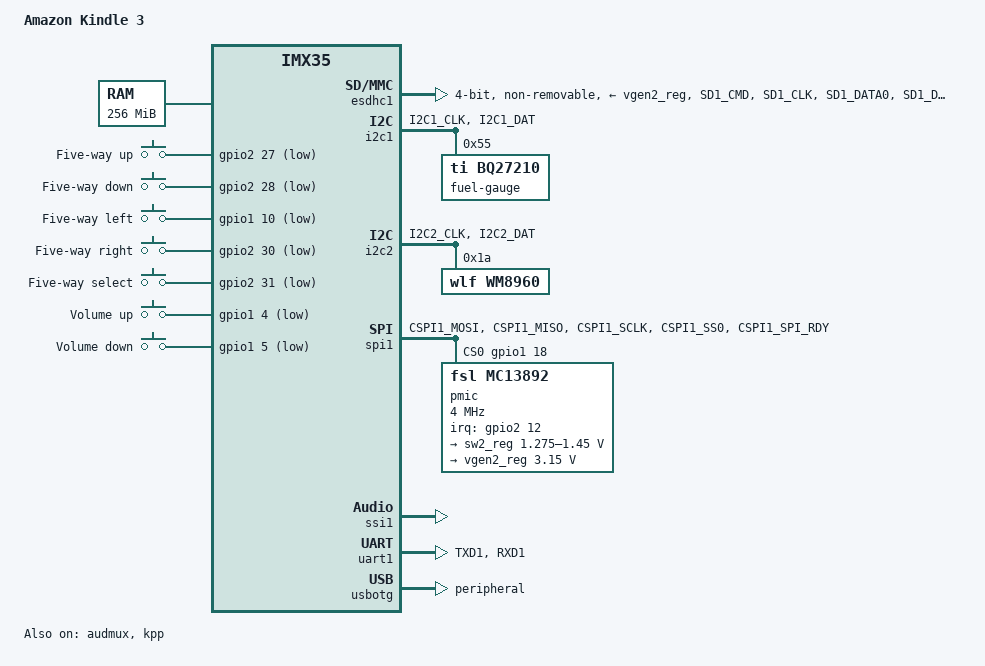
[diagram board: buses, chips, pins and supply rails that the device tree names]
// SPDX-License-Identifier: GPL-2.0-or-later
/*
 * Initial Device Tree for the Amazon Kindle 3 (Luigi).
 *
 * This intentionally describes only hardware whose wiring is established by
 * the vendor kernel or Barebox.  Additional power management, display, Wi-Fi
 * and other active peripherals should be added as their bindings are verified.
 */

/dts-v1/;
#include "imx35.dtsi"
#include <dt-bindings/gpio/gpio.h>
#include <dt-bindings/input/input.h>
#include <dt-bindings/interrupt-controller/irq.h>

/ {
	model = "Amazon Kindle 3";
	compatible = "amazon,kindle3", "fsl,imx35";

	chosen {
		stdout-path = "serial0:115200n8";
	};

	memory@80000000 {
		device_type = "memory";
		reg = <0x80000000 0x10000000>;
	};

	cpu_opp_table: opp-table {
		compatible = "operating-points-v2";

		/* These are the only two operating points used by Amazon. */
		opp-256000000 {
			opp-hz = /bits/ 64 <256000000>;
			opp-microvolt = <1275000>;
			clock-latency-ns = <50000>;
		};

		opp-512000000 {
			opp-hz = /bits/ 64 <512000000>;
			opp-microvolt = <1450000>;
			clock-latency-ns = <50000>;
		};
	};

	sound {
		compatible = "fsl,imx-audio-wm8960";
		model = "Kindle 3 WM8960";
		audio-cpu = <&ssi1>;
		audio-codec = <&wm8960>;
		mux-int-port = <1>;
		mux-ext-port = <4>;
		audio-routing =
			"Headphone Jack", "HP_L",
			"Headphone Jack", "HP_R";
	};

	gpio-keys {
		compatible = "gpio-keys";
		pinctrl-names = "default";
		pinctrl-0 = <&pinctrl_gpio_keys>;

		key-up {
			label = "Five-way up";
			linux,code = <KEY_UP>;
			gpios = <&gpio2 27 GPIO_ACTIVE_LOW>;
			debounce-interval = <20>;
		};

		key-down {
			label = "Five-way down";
			linux,code = <KEY_DOWN>;
			gpios = <&gpio2 28 GPIO_ACTIVE_LOW>;
			debounce-interval = <20>;
		};

		key-left {
			label = "Five-way left";
			linux,code = <KEY_LEFT>;
			gpios = <&gpio1 10 GPIO_ACTIVE_LOW>;
			debounce-interval = <20>;
		};

		key-right {
			label = "Five-way right";
			linux,code = <KEY_RIGHT>;
			gpios = <&gpio2 30 GPIO_ACTIVE_LOW>;
			debounce-interval = <20>;
		};

		key-select {
			label = "Five-way select";
			linux,code = <KEY_F24>;
			gpios = <&gpio2 31 GPIO_ACTIVE_LOW>;
			debounce-interval = <20>;
		};

		key-volume-up {
			label = "Volume up";
			linux,code = <KEY_VOLUMEUP>;
			gpios = <&gpio1 4 GPIO_ACTIVE_LOW>;
			debounce-interval = <20>;
		};

		key-volume-down {
			label = "Volume down";
			linux,code = <KEY_VOLUMEDOWN>;
			gpios = <&gpio1 5 GPIO_ACTIVE_LOW>;
			debounce-interval = <20>;
		};
	};
};

&{/cpus/cpu@0} {
	clocks = <&clks 4>;
	clock-names = "cpu";
	assigned-clocks = <&clks 4>;
	assigned-clock-rates = <512000000>;
	operating-points-v2 = <&cpu_opp_table>;
	cpu-supply = <&sw2_reg>;
};

&esdhc1 {
	pinctrl-names = "default";
	pinctrl-0 = <&pinctrl_esdhc1>;
	vmmc-supply = <&vgen2_reg>;
	bus-width = <4>;
	non-removable;
	no-sd;
	no-sdio;
	status = "okay";
};

&audmux {
	pinctrl-names = "default";
	pinctrl-0 = <&pinctrl_audmux>;
	status = "okay";
};

&iomuxc {
	pinctrl_audio_clock: audioclockgrp {
		fsl,pins = <
			MX35_PAD_CLKO__CCM_CLKO			0x0
		>;
	};

	pinctrl_audmux: audmuxgrp {
		fsl,pins = <
			MX35_PAD_STXD4__AUDMUX_AUD4_TXD	0x21e0
			MX35_PAD_SRXD4__AUDMUX_AUD4_RXD	0x21e0
			MX35_PAD_SCK4__AUDMUX_AUD4_TXC		0x21e0
			MX35_PAD_STXFS4__AUDMUX_AUD4_TXFS	0x21e0
		>;
	};

	pinctrl_gpio_keys: gpiokeysgrp {
		fsl,pins = <
			MX35_PAD_ATA_DATA14__GPIO2_27		0x21e0
			MX35_PAD_ATA_DATA15__GPIO2_28		0x21e0
			MX35_PAD_TX5_RX0__GPIO1_10		0x21e0
			MX35_PAD_ATA_BUFF_EN__GPIO2_30		0x21e0
			MX35_PAD_ATA_DMARQ__GPIO2_31		0x21e0
			MX35_PAD_SCKR__GPIO1_4			0x21e0
			MX35_PAD_FSR__GPIO1_5			0x21e0
		>;
	};

	pinctrl_i2c1: i2c1grp {
		fsl,pins = <
			MX35_PAD_I2C1_CLK__I2C1_SCL		0x400001c8
			MX35_PAD_I2C1_DAT__I2C1_SDA		0x400001c8
		>;
	};

	pinctrl_i2c2: i2c2grp {
		fsl,pins = <
			MX35_PAD_I2C2_CLK__I2C2_SCL		0x400001c8
			MX35_PAD_I2C2_DAT__I2C2_SDA		0x400001c8
		>;
	};

	pinctrl_kpp: kppgrp {
		fsl,pins = <
			MX35_PAD_TX2_RX3__KPP_COL_0		0x20e0
			MX35_PAD_TX1__KPP_COL_1		0x20e0
			MX35_PAD_TX0__KPP_COL_2		0x20e0
			MX35_PAD_HCKT__KPP_COL_3		0x20e0
			MX35_PAD_RTS1__KPP_COL_6		0x20e0
			MX35_PAD_CTS1__KPP_COL_7		0x20e0
			MX35_PAD_TX4_RX1__KPP_ROW_0		0x20e0
			MX35_PAD_TX3_RX2__KPP_ROW_1		0x20e0
			MX35_PAD_SCKT__KPP_ROW_2		0x20e0
			MX35_PAD_FST__KPP_ROW_3		0x20e0
			MX35_PAD_RXD2__KPP_ROW_4		0x20e0
			MX35_PAD_TXD2__KPP_ROW_5		0x20e0
			MX35_PAD_RTS2__KPP_ROW_6		0x20e0
			MX35_PAD_CTS2__KPP_ROW_7		0x20e0
		>;
	};

	pinctrl_pmic: pmicgrp {
		fsl,pins = <
			MX35_PAD_ATA_IORDY__GPIO2_12		0x0
		>;
	};

	pinctrl_spi1: spi1grp {
		fsl,pins = <
			MX35_PAD_CSPI1_MOSI__CSPI1_MOSI	0x21c0
			MX35_PAD_CSPI1_MISO__CSPI1_MISO	0x21c0
			MX35_PAD_CSPI1_SCLK__CSPI1_SCLK	0x21c0
			MX35_PAD_CSPI1_SS0__GPIO1_18		0x21e0
			MX35_PAD_CSPI1_SPI_RDY__CSPI1_RDY	0x21e0
		>;
	};

	pinctrl_esdhc1: esdhc1grp {
		fsl,pins = <
			MX35_PAD_SD1_CMD__ESDHC1_CMD		0x80000000
			MX35_PAD_SD1_CLK__ESDHC1_CLK		0x80000000
			MX35_PAD_SD1_DATA0__ESDHC1_DAT0	0x80000000
			MX35_PAD_SD1_DATA1__ESDHC1_DAT1	0x80000000
			MX35_PAD_SD1_DATA2__ESDHC1_DAT2	0x80000000
			MX35_PAD_SD1_DATA3__ESDHC1_DAT3	0x80000000
		>;
	};

	pinctrl_uart1: uart1grp {
		fsl,pins = <
			MX35_PAD_TXD1__UART1_TXD_MUX		0x1c5
			MX35_PAD_RXD1__UART1_RXD_MUX		0x1c5
		>;
	};
};

&i2c1 {
	pinctrl-names = "default";
	pinctrl-0 = <&pinctrl_i2c1>;
	status = "okay";

	fuel-gauge@55 {
		compatible = "ti,bq27210";
		reg = <0x55>;
	};
};

&i2c2 {
	pinctrl-names = "default";
	pinctrl-0 = <&pinctrl_i2c2>;
	status = "okay";

	wm8960: audio-codec@1a {
		compatible = "wlf,wm8960";
		reg = <0x1a>;
		#sound-dai-cells = <0>;
		pinctrl-names = "default";
		pinctrl-0 = <&pinctrl_audio_clock>;
		clocks = <&clks 83>;
		clock-names = "mclk";
	};
};

&kpp {
	pinctrl-names = "default";
	pinctrl-0 = <&pinctrl_kpp>;
	linux,keymap = <
		MATRIX_KEY(0, 0, KEY_HOME)
		MATRIX_KEY(0, 2, KEY_R)
		MATRIX_KEY(0, 3, KEY_S)
		MATRIX_KEY(0, 6, KEY_BACKSPACE)
		MATRIX_KEY(0, 7, KEY_DOT)

		MATRIX_KEY(1, 0, KEY_MENU)
		MATRIX_KEY(1, 2, KEY_T)
		MATRIX_KEY(1, 3, KEY_D)
		MATRIX_KEY(1, 6, KEY_Z)

		MATRIX_KEY(2, 0, KEY_BACK)
		MATRIX_KEY(2, 2, KEY_Y)
		MATRIX_KEY(2, 3, KEY_F)
		MATRIX_KEY(2, 6, KEY_X)
		MATRIX_KEY(2, 7, KEY_ENTER)

		MATRIX_KEY(3, 0, KEY_PAGEUP)
		MATRIX_KEY(3, 2, KEY_U)
		MATRIX_KEY(3, 3, KEY_G)
		MATRIX_KEY(3, 6, KEY_C)
		MATRIX_KEY(3, 7, KEY_LEFTSHIFT)

		MATRIX_KEY(4, 0, KEY_F21)
		MATRIX_KEY(4, 2, KEY_I)
		MATRIX_KEY(4, 3, KEY_H)
		MATRIX_KEY(4, 6, KEY_V)
		MATRIX_KEY(4, 7, KEY_LEFTALT)

		MATRIX_KEY(5, 0, KEY_F23)
		MATRIX_KEY(5, 1, KEY_Q)
		MATRIX_KEY(5, 2, KEY_O)
		MATRIX_KEY(5, 3, KEY_J)
		MATRIX_KEY(5, 6, KEY_B)
		MATRIX_KEY(5, 7, KEY_SPACE)

		MATRIX_KEY(6, 0, KEY_PAGEDOWN)
		MATRIX_KEY(6, 1, KEY_W)
		MATRIX_KEY(6, 2, KEY_P)
		MATRIX_KEY(6, 3, KEY_K)
		MATRIX_KEY(6, 6, KEY_N)
		MATRIX_KEY(6, 7, KEY_F20)

		MATRIX_KEY(7, 1, KEY_E)
		MATRIX_KEY(7, 2, KEY_A)
		MATRIX_KEY(7, 3, KEY_L)
		MATRIX_KEY(7, 6, KEY_M)
		MATRIX_KEY(7, 7, KEY_RIGHTMETA)
	>;
	status = "okay";
};

&spi1 {
	pinctrl-names = "default";
	pinctrl-0 = <&pinctrl_spi1>;
	cs-gpios = <&gpio1 18 GPIO_ACTIVE_HIGH>;
	status = "okay";

	pmic: pmic@0 {
		compatible = "fsl,mc13892";
		pinctrl-names = "default";
		pinctrl-0 = <&pinctrl_pmic>;
		reg = <0>;
		spi-max-frequency = <4000000>;
		spi-cs-high;
		interrupt-parent = <&gpio2>;
		interrupts = <12 IRQ_TYPE_LEVEL_HIGH>;
		fsl,mc13xxx-uses-adc;
		fsl,mc13xxx-uses-rtc;

		regulators {
			sw2_reg: sw2 {
				regulator-name = "SW2";
				regulator-min-microvolt = <1275000>;
				regulator-max-microvolt = <1450000>;
				/* Longer than Amazon's 20 us SW2 transition delay. */
				regulator-settling-time-us = <50>;
				regulator-boot-on;
				regulator-always-on;
			};

			vgen2_reg: vgen2 {
				regulator-name = "VGEN2";
				regulator-min-microvolt = <3150000>;
				regulator-max-microvolt = <3150000>;
				regulator-boot-on;
				regulator-always-on;
			};
		};

		leds {
			#address-cells = <1>;
			#size-cells = <0>;
			/* 12 mA current limit, zero duty cycle at probe. */
			led-control = <0x0 0x0 0x800000 0x0>;

			green-led@4 {
				reg = <4>;
				label = "kindle3:green:status";
			};
		};

		buttons {
			#address-cells = <1>;
			#size-cells = <0>;

			onkey@0 {
				reg = <0>;
				debounce-delay-ms = <150>;
				active-low;
				linux,code = <KEY_POWER>;
			};
		};
	};
};

&ssi1 {
	status = "okay";
};

&uart1 {
	pinctrl-names = "default";
	pinctrl-0 = <&pinctrl_uart1>;
	status = "okay";
};

&usbotg {
	dr_mode = "peripheral";
	phy_type = "utmi";
	external-vbus-divider;
	status = "okay";
};
